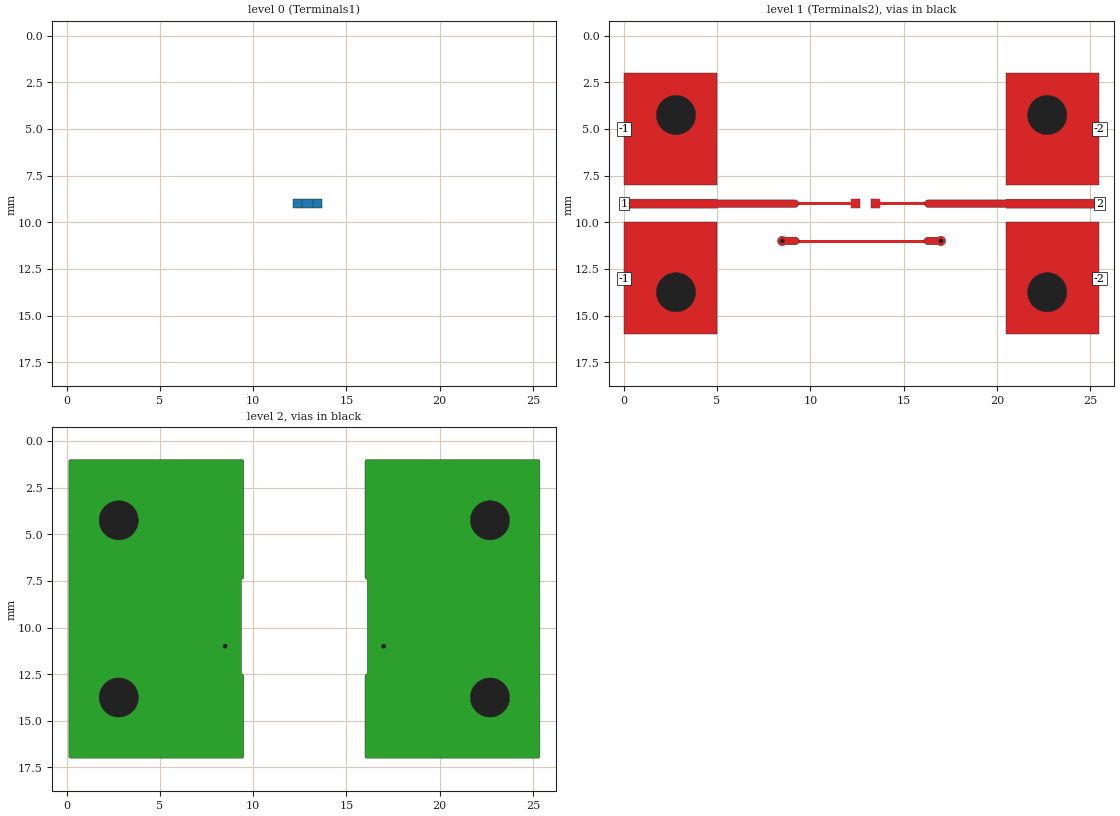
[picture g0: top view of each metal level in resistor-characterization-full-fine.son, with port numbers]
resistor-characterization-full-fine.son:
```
FTYP SONPROJ 19 ! Sonnet Project File
VER 18.56
HEADER
LIC antikernel2.1.51813
DAT 11/05/2022 23:43:38
BUILT_BY_CREATED xgeom 18.54 09/23/2022 20:17:08
BUILT_BY_SAVED sonnet 18.56
MDATE 11/05/2022 23:43:38
HDATE 11/05/2022 23:43:38
ANN Created by dxfgeo, Sonnet Software Inc.
END HEADER
DIM
ANG DEG
CAP FF
CON /OH
FREQ GHZ
IND PH
LNG MM
RES OH
END DIM
CONTROL
VARSWP
OPTIONS  -dj
SPEED 0
CACHE_ABS 2
Q_ACC N
END CONTROL
GEO
DRP1 LEFT NONE 3
DRP1 RIGHT NONE 3
TMET "Free Space" 0 FREESPACE 376.7303136 0 0 0
BMET "Free Space" 0 FREESPACE 376.7303136 0 0 0
MET "Copper_1oz+plated_thick_up" 1 TMM 58000000 0.5 0.0432 2
MET "Copper_1oz+plated_thin" 4 NOR 58000000 0.5 0.0432 
MET "Copper_0.5oz_thin" 2 NOR 58000000 0.5 0.0175 
MET "Copper_1oz+plated_thick_down" 3 TMM 58000000 0.5 0.0432 2 CDVY TDWN
MET "Nickel" 1 TVM 7.5e-06 0.175  RSVY
MET "Nickel 0.175mm" 5 TMM 6.99e-08 0.5 0.175 4 RSVY
MET "Tin" 2 TVM 8700000 0.5 
MET "Copper" 4 TMM 58000000 0.5 0.035 2 CDVY TDWN
MET "Solder" 37 TMM 8700000 0.5 0.5 4
MET "Resistor 265" 3 RES 265  0.05
MET "Resistor 375" 6 RES 375  0.035
MET "Copper 35um" 1 VOL 58000000 0.035
BRI "Alumina 99.5" 1 9.8 0.0001 0 
BOX 5 25.5 18 2040 1440 20 0
      10 1 1 0 0 0 0 "Air"
      0.5 1 1 0 0 0 5 "Air"
      0.2021 3.61 1 0.0092 0 0 0 "Isola_FR408HR"
      1.1938 3.61 1 0.0092 0 0 0 "Isola_FR408HR"
      0.2021 3.61 1 0.0092 0 0 0 "Isola_FR408HR"
      10 1 1 0 0 0 0 "Air"
TECHLAY METAL Terminals1 <UNSPECIFIED> -12 -65534 
0 0 0 N 550 1 1 100 100 0 0 0 Y
END
END
TECHLAY METAL Resistor <UNSPECIFIED> -13 -65534 
0 0 10 N 552 1 1 100 100 0 0 0 Y
END
END
TECHLAY METAL Terminals2 <UNSPECIFIED> -9 -65534 
1 0 3 N 555 1 1 100 100 0 0 0 Y
END
END
TECHLAY METAL NickelLeadwire <UNSPECIFIED> -8 -65534 
1 0 5 N 557 1 1 100 100 0 0 0 Y
END
END
TECHLAY METAL Solder <UNSPECIFIED> -11 -65534 
1 0 8 N 559 1 1 100 100 0 0 0 Y
END
END
TECHLAY BRICK ResistorBody <UNSPECIFIED> -10 -65534 
BRI POLY
1 0 1 N 598 1 1 100 100 0 0 0 Y
END
END
TECHLAY METAL F.Cu_thin <UNSPECIFIED> -2 -65534 CAD F.Cu_thin drawing 
1 0 1 N 563 1 1 100 100 0 0 0 Y
END
END
TECHLAY METAL F.Cu_thick L1D0 -1 -65534 CAD F.Cu drawing 
1 0 0 N 565 1 1 100 100 0 0 0 Y
END
END
TECHLAY VIA Via1 L3D0 -7 -65534 CAD Via1 drawing 
VIA POLYGON
1 0 11 N 599 1 1 100 100 0 0 0 Y
TOLEVEL 4 RING NOCOVERS
END
END
TECHLAY METAL In1.Cu L2D0 -3 -65534 CAD In1.Cu drawing 
2 0 2 N 576 1 1 100 100 0 0 0 Y
END
END
TECHLAY METAL In2.Cu <UNSPECIFIED> -4 -65534 CAD In2.Cu drawing 
3 0 2 N 579 1 1 100 100 0 0 0 Y
END
END
TECHLAY METAL B.Cu_thin <UNSPECIFIED> -6 -65534 CAD B.Cu_thin drawing 
4 0 1 N 582 1 1 100 100 0 0 0 Y
END
END
TECHLAY METAL B.Cu_thick <UNSPECIFIED> -5 -65534 CAD B.Cu drawing 
4 0 3 N 584 1 1 100 100 0 0 0 Y
END
END
LORGN 0 18 U 
POR1 BOX
POLY 520 1
1
-1 50 0 0 0 0 5 
POR1 BOX
POLY 521 1
35
1 50 0 0 0 0 9 
POR1 BOX
POLY 522 1
1
-1 50 0 0 0 0 13 
POR1 BOX
POLY 524 1
3
-2 50 0 0 0 25.5 13 
POR1 BOX
POLY 525 1
37
2 50 0 0 0 25.5 9 
POR1 BOX
POLY 526 1
3
-2 50 0 0 0 25.5 5 
NUM 27
0 5 0 N 339 1 1 100 100 0 0 0 Y
TLAYNAM Terminals1 INH
12.1625 8.75
12.6375 8.75
12.6375 9.25
12.1625 9.25
12.1625 8.75
END
0 5 0 N 338 1 1 100 100 0 0 0 Y
TLAYNAM Terminals1 INH
13.2375 8.75
13.7125 8.75
13.7125 9.25
13.2375 9.25
13.2375 8.75
END
0 5 10 N 343 1 1 100 100 0 0 0 Y
TLAYNAM Resistor INH
12.6375 8.75
13.2375 8.75
13.2375 9.25
12.6375 9.25
12.6375 8.75
END
1 5 3 N 323 1 1 100 100 0 0 0 Y
TLAYNAM Terminals2 INH
13.2375 8.75
13.7125 8.75
13.7125 9.25
13.2375 9.25
13.2375 8.75
END
1 5 3 N 447 1 1 100 100 0 0 0 Y
TLAYNAM Terminals2 INH
12.1625 8.75
12.6375 8.75
12.6375 9.25
12.1625 9.25
12.1625 8.75
END
1 5 5 N 286 1 1 100 100 0 0 0 Y
TLAYNAM NickelLeadwire INH
8.9125 10.925
16.4125 10.925
16.4125 11.1
8.9125 11.1
8.9125 10.925
END
1 5 5 N 328 1 1 100 100 0 0 0 Y
TLAYNAM NickelLeadwire INH
16.4125 8.9
13.4375 8.9
13.4375 9.075
16.4125 9.075
16.4125 8.9
END
1 5 5 N 329 1 1 100 100 0 0 0 Y
TLAYNAM NickelLeadwire INH
12.4375 8.9
8.9125 8.9
8.9125 9.075
12.4375 9.075
12.4375 8.9
END
1 5 8 N 322 1 1 100 100 0 0 0 Y
TLAYNAM Solder INH
13.4375 8.75
13.7125 8.75
13.7125 9.25
13.4375 9.25
13.4375 8.75
END
1 5 8 N 319 1 1 100 100 0 0 0 Y
TLAYNAM Solder INH
12.1625 8.75
12.4375 8.75
12.4375 9.25
12.1625 9.25
12.1625 8.75
END
BRI POLY
1 5 1 N 321 1 1 100 100 0 0 0 Y
TLAYNAM ResistorBody INH
12.4375 8.75
13.4375 8.75
13.4375 9.25
12.4375 9.25
12.4375 8.75
END
1 81 0 N 448 1 1 100 100 0 0 0 Y
USER_DAT FromImport
8.488 11.25
8.463 11.247
8.439 11.243
8.416 11.235
8.393 11.226
8.371 11.214
8.351 11.201
8.332 11.185
8.315 11.168
8.299 11.149
8.286 11.129
8.274 11.107
8.265 11.084
8.257 11.061
8.253 11.037
8.25 11.012
8.25 10.988
8.253 10.963
8.257 10.939
8.265 10.916
8.274 10.893
8.286 10.871
8.299 10.851
8.315 10.832
8.332 10.815
8.351 10.799
8.371 10.786
8.393 10.774
8.416 10.765
8.439 10.757
8.463 10.753
8.488 10.75
8.512 10.75
8.537 10.753
8.561 10.757
8.584 10.765
8.607 10.774
8.629 10.786
8.649 10.799
8.65 10.8
9.21 10.8
9.229 10.802
9.249 10.806
9.267 10.811
9.286 10.819
9.303 10.828
9.319 10.839
9.334 10.852
9.348 10.866
9.361 10.881
9.372 10.897
9.381 10.914
9.389 10.933
9.394 10.951
9.398 10.971
9.4 10.99
9.4 11.01
9.398 11.029
9.394 11.049
9.389 11.067
9.381 11.086
9.372 11.103
9.361 11.119
9.348 11.134
9.334 11.148
9.319 11.161
9.303 11.172
9.286 11.181
9.267 11.189
9.249 11.194
9.229 11.198
9.21 11.2
8.65 11.2
8.649 11.201
8.629 11.214
8.607 11.226
8.584 11.235
8.561 11.243
8.537 11.247
8.512 11.25
8.488 11.25
END
1 81 0 N 449 1 1 100 100 0 0 0 Y
USER_DAT FromImport
16.988 11.25
16.963 11.247
16.939 11.243
16.916 11.235
16.893 11.226
16.871 11.214
16.851 11.201
16.85 11.2
16.29 11.2
16.271 11.198
16.251 11.194
16.233 11.189
16.214 11.181
16.197 11.172
16.181 11.161
16.166 11.148
16.152 11.134
16.139 11.119
16.128 11.103
16.119 11.086
16.111 11.067
16.106 11.049
16.102 11.029
16.1 11.01
16.1 10.99
16.102 10.971
16.106 10.951
16.111 10.933
16.119 10.914
16.128 10.897
16.139 10.881
16.152 10.866
16.166 10.852
16.181 10.839
16.197 10.828
16.214 10.819
16.233 10.811
16.251 10.806
16.271 10.802
16.29 10.8
16.85 10.8
16.851 10.799
16.871 10.786
16.893 10.774
16.916 10.765
16.939 10.757
16.963 10.753
16.988 10.75
17.012 10.75
17.037 10.753
17.061 10.757
17.084 10.765
17.107 10.774
17.129 10.786
17.149 10.799
17.168 10.815
17.185 10.832
17.201 10.851
17.214 10.871
17.226 10.893
17.235 10.916
17.243 10.939
17.247 10.963
17.25 10.988
17.25 11.012
17.247 11.037
17.243 11.061
17.235 11.084
17.226 11.107
17.214 11.129
17.201 11.149
17.185 11.168
17.168 11.185
17.149 11.201
17.129 11.214
17.107 11.226
17.084 11.235
17.061 11.243
17.037 11.247
17.012 11.25
16.988 11.25
END
VIA POLYGON
1 65 11 N 458 1 1 100 100 0 0 0 Y
TOLEVEL 4 RING NOCOVERS
USER_DAT FromImport
2.8 14.8
2.697 14.795
2.595 14.78
2.495 14.755
2.398 14.72
2.305 14.676
2.217 14.623
2.134 14.562
2.058 14.492
1.988 14.416
1.927 14.333
1.874 14.245
1.83 14.152
1.795 14.055
1.77 13.955
1.755 13.853
1.75 13.75
1.755 13.647
1.77 13.545
1.795 13.445
1.83 13.348
1.874 13.255
1.927 13.167
1.988 13.084
2.058 13.008
2.134 12.938
2.217 12.877
2.305 12.824
2.398 12.78
2.495 12.745
2.595 12.72
2.697 12.705
2.8 12.7
2.903 12.705
3.005 12.72
3.105 12.745
3.202 12.78
3.295 12.824
3.383 12.877
3.466 12.938
3.542 13.008
3.612 13.084
3.673 13.167
3.726 13.255
3.77 13.348
3.805 13.445
3.83 13.545
3.845 13.647
3.85 13.75
3.845 13.853
3.83 13.955
3.805 14.055
3.77 14.152
3.726 14.245
3.673 14.333
3.612 14.416
3.542 14.492
3.466 14.562
3.383 14.623
3.295 14.676
3.202 14.72
3.105 14.755
3.005 14.78
2.903 14.795
2.8 14.8
END
VIA POLYGON
1 65 11 N 459 1 1 100 100 0 0 0 Y
TOLEVEL 4 RING NOCOVERS
USER_DAT FromImport
22.7 14.8
22.597 14.795
22.495 14.78
22.395 14.755
22.298 14.72
22.205 14.676
22.117 14.623
22.034 14.562
21.958 14.492
21.888 14.416
21.827 14.333
21.774 14.245
21.73 14.152
21.695 14.055
21.67 13.955
21.655 13.853
21.65 13.75
21.655 13.647
21.67 13.545
21.695 13.445
21.73 13.348
21.774 13.255
21.827 13.167
21.888 13.084
21.958 13.008
22.034 12.938
22.117 12.877
22.205 12.824
22.298 12.78
22.395 12.745
22.495 12.72
22.597 12.705
22.7 12.7
22.803 12.705
22.905 12.72
23.005 12.745
23.102 12.78
23.195 12.824
23.283 12.877
23.366 12.938
23.442 13.008
23.512 13.084
23.573 13.167
23.626 13.255
23.67 13.348
23.705 13.445
23.73 13.545
23.745 13.647
23.75 13.75
23.745 13.853
23.73 13.955
23.705 14.055
23.67 14.152
23.626 14.245
23.573 14.333
23.512 14.416
23.442 14.492
23.366 14.562
23.283 14.623
23.195 14.676
23.102 14.72
23.005 14.755
22.905 14.78
22.803 14.795
22.7 14.8
END
VIA POLYGON
1 53 11 N 460 1 1 100 100 0 0 0 Y
TOLEVEL 4 RING NOCOVERS
USER_DAT FromImport
8.5 11.125
8.476 11.123
8.464 11.12
8.452 11.115
8.441 11.11
8.431 11.104
8.421 11.097
8.403 11.079
8.396 11.069
8.39 11.059
8.385 11.048
8.38 11.036
8.377 11.024
8.375 11
8.377 10.976
8.38 10.964
8.385 10.952
8.39 10.941
8.396 10.931
8.403 10.921
8.421 10.903
8.431 10.896
8.441 10.89
8.452 10.885
8.464 10.88
8.476 10.877
8.5 10.875
8.524 10.877
8.536 10.88
8.548 10.885
8.559 10.89
8.569 10.896
8.579 10.903
8.597 10.921
8.604 10.931
8.61 10.941
8.615 10.952
8.62 10.964
8.623 10.976
8.625 11
8.623 11.024
8.62 11.036
8.615 11.048
8.61 11.059
8.604 11.069
8.597 11.079
8.579 11.097
8.569 11.104
8.559 11.11
8.548 11.115
8.536 11.12
8.524 11.123
8.5 11.125
END
VIA POLYGON
1 53 11 N 461 1 1 100 100 0 0 0 Y
TOLEVEL 4 RING NOCOVERS
USER_DAT FromImport
17 11.125
16.976 11.123
16.964 11.12
16.952 11.115
16.941 11.11
16.931 11.104
16.921 11.097
16.903 11.079
16.896 11.069
16.89 11.059
16.885 11.048
16.88 11.036
16.877 11.024
16.875 11
16.877 10.976
16.88 10.964
16.885 10.952
16.89 10.941
16.896 10.931
16.903 10.921
16.921 10.903
16.931 10.896
16.941 10.89
16.952 10.885
16.964 10.88
16.976 10.877
17 10.875
17.024 10.877
17.036 10.88
17.048 10.885
17.059 10.89
17.069 10.896
17.079 10.903
17.097 10.921
17.104 10.931
17.11 10.941
17.115 10.952
17.12 10.964
17.123 10.976
17.125 11
17.123 11.024
17.12 11.036
17.115 11.048
17.11 11.059
17.104 11.069
17.097 11.079
17.079 11.097
17.069 11.104
17.059 11.11
17.048 11.115
17.036 11.12
17.024 11.123
17 11.125
END
VIA POLYGON
1 65 11 N 462 1 1 100 100 0 0 0 Y
TOLEVEL 4 RING NOCOVERS
USER_DAT FromImport
2.8 5.3
2.697 5.295
2.595 5.28
2.495 5.255
2.398 5.22
2.305 5.176
2.217 5.123
2.134 5.062
2.058 4.992
1.988 4.916
1.927 4.833
1.874 4.745
1.83 4.652
1.795 4.555
1.77 4.455
1.755 4.353
1.75 4.25
1.755 4.147
1.77 4.045
1.795 3.945
1.83 3.848
1.874 3.755
1.927 3.667
1.988 3.584
2.058 3.508
2.134 3.438
2.217 3.377
2.305 3.324
2.398 3.28
2.495 3.245
2.595 3.22
2.697 3.205
2.8 3.2
2.903 3.205
3.005 3.22
3.105 3.245
3.202 3.28
3.295 3.324
3.383 3.377
3.466 3.438
3.542 3.508
3.612 3.584
3.673 3.667
3.726 3.755
3.77 3.848
3.805 3.945
3.83 4.045
3.845 4.147
3.85 4.25
3.845 4.353
3.83 4.455
3.805 4.555
3.77 4.652
3.726 4.745
3.673 4.833
3.612 4.916
3.542 4.992
3.466 5.062
3.383 5.123
3.295 5.176
3.202 5.22
3.105 5.255
3.005 5.28
2.903 5.295
2.8 5.3
END
VIA POLYGON
1 65 11 N 463 1 1 100 100 0 0 0 Y
TOLEVEL 4 RING NOCOVERS
USER_DAT FromImport
22.7 5.3
22.597 5.295
22.495 5.28
22.395 5.255
22.298 5.22
22.205 5.176
22.117 5.123
22.034 5.062
21.958 4.992
21.888 4.916
21.827 4.833
21.774 4.745
21.73 4.652
21.695 4.555
21.67 4.455
21.655 4.353
21.65 4.25
21.655 4.147
21.67 4.045
21.695 3.945
21.73 3.848
21.774 3.755
21.827 3.667
21.888 3.584
21.958 3.508
22.034 3.438
22.117 3.377
22.205 3.324
22.298 3.28
22.395 3.245
22.495 3.22
22.597 3.205
22.7 3.2
22.803 3.205
22.905 3.22
23.005 3.245
23.102 3.28
23.195 3.324
23.283 3.377
23.366 3.438
23.442 3.508
23.512 3.584
23.573 3.667
23.626 3.755
23.67 3.848
23.705 3.945
23.73 4.045
23.745 4.147
23.75 4.25
23.745 4.353
23.73 4.455
23.705 4.555
23.67 4.652
23.626 4.745
23.573 4.833
23.512 4.916
23.442 4.992
23.366 5.062
23.283 5.123
23.195 5.176
23.102 5.22
23.005 5.255
22.905 5.28
22.803 5.295
22.7 5.3
END
1 5 0 N 520 1 1 100 100 0 0 0 Y
USER_DAT FromImport
5 2
0 2
0 8
5 8
5 2
END
1 39 0 N 521 1 1 100 100 0 0 0 Y
USER_DAT FromImport
5 9.2
9.184 9.2
9.204 9.198
9.223 9.194
9.242 9.189
9.26 9.181
9.278 9.172
9.294 9.161
9.309 9.148
9.323 9.134
9.335 9.119
9.346 9.103
9.356 9.086
9.363 9.067
9.369 9.049
9.373 9.029
9.375 9.01
9.375 8.99
9.373 8.971
9.369 8.951
9.363 8.933
9.356 8.914
9.346 8.897
9.335 8.881
9.323 8.866
9.309 8.852
9.294 8.839
9.278 8.828
9.26 8.819
9.242 8.811
9.223 8.806
9.204 8.802
9.184 8.8
5 8.8
5 8.76
0 8.76
0 9.24
5 9.24
5 9.2
END
1 5 0 N 522 1 1 100 100 0 0 0 Y
USER_DAT FromImport
5 10
0 10
0 16
5 16
5 10
END
1 5 0 N 524 1 1 100 100 0 0 0 Y
USER_DAT FromImport
25.5 10
20.5 10
20.5 16
25.5 16
25.5 10
END
1 39 0 N 525 1 1 100 100 0 0 0 Y
USER_DAT FromImport
25.5 8.76
20.5 8.76
20.5 8.8
16.315 8.8
16.296 8.802
16.276 8.806
16.258 8.811
16.239 8.819
16.222 8.828
16.206 8.839
16.191 8.852
16.177 8.866
16.164 8.881
16.153 8.897
16.144 8.914
16.136 8.933
16.131 8.951
16.127 8.971
16.125 8.99
16.125 9.01
16.127 9.029
16.131 9.049
16.136 9.067
16.144 9.086
16.153 9.103
16.164 9.119
16.177 9.134
16.191 9.148
16.206 9.161
16.222 9.172
16.239 9.181
16.258 9.189
16.276 9.194
16.296 9.198
16.315 9.2
20.5 9.2
20.5 9.24
25.5 9.24
25.5 8.76
END
1 5 0 N 526 1 1 100 100 0 0 0 Y
USER_DAT FromImport
25.5 2
20.5 2
20.5 8
25.5 8
25.5 2
END
2 57 2 N 456 1 1 100 100 0 0 0 Y
USER_DAT FromImport
0.199 17
0.151 16.983
0.126 16.939
0.125 16.926
0.125 1.074
0.142 1.026
0.186 1.001
0.199 1
9.426 1
9.474 1.017
9.499 1.061
9.5 1.074
9.5 7.314
9.483 7.362
9.447 7.385
9.44 7.387
9.43 7.39
9.424 7.397
9.423 7.398
9.415 7.401
9.409 7.41
9.403 7.42
9.396 7.429
9.382 7.446
9.38 7.454
9.38 7.456
9.379 7.456
9.375 7.463
9.375 7.486
9.374 7.496
9.373 7.508
9.371 7.518
9.375 7.527
9.375 12.386
9.374 12.396
9.373 12.408
9.371 12.418
9.38 12.439
9.386 12.454
9.39 12.47
9.397 12.476
9.398 12.477
9.401 12.485
9.41 12.491
9.42 12.497
9.429 12.504
9.446 12.518
9.458 12.521
9.463 12.525
9.462 12.527
9.49 12.552
9.5 12.588
9.5 16.926
9.483 16.974
9.439 16.999
9.426 17
0.199 17
END
2 56 2 N 457 1 1 100 100 0 0 0 Y
USER_DAT FromImport
16.074 17
16.026 16.983
16.001 16.939
16 16.926
16 12.586
16.017 12.538
16.053 12.515
16.06 12.513
16.07 12.51
16.076 12.503
16.077 12.502
16.085 12.499
16.097 12.48
16.111 12.462
16.118 12.454
16.12 12.446
16.12 12.444
16.121 12.444
16.125 12.437
16.125 12.414
16.126 12.404
16.127 12.392
16.129 12.382
16.125 12.373
16.125 7.514
16.126 7.504
16.127 7.492
16.129 7.482
16.12 7.461
16.116 7.451
16.113 7.44
16.11 7.43
16.103 7.424
16.102 7.423
16.099 7.415
16.08 7.403
16.062 7.389
16.054 7.382
16.042 7.379
16.037 7.375
16.038 7.373
16.01 7.348
16 7.312
16 1.074
16.017 1.026
16.061 1.001
16.074 1
25.301 1
25.349 1.017
25.374 1.061
25.375 1.074
25.375 16.926
25.358 16.974
25.314 16.999
25.301 17
16.074 17
END
END GEO
OPT
MAX 100
END OPT
VARSWP
ENABLED Y
FREQ Y AY ABS_ENTRY 0.1 8.5 -1 300 
END
END VARSWP
3DOPTIONS
GLOBAL 1
ALL 6 1
END 3DOPTIONS
```
